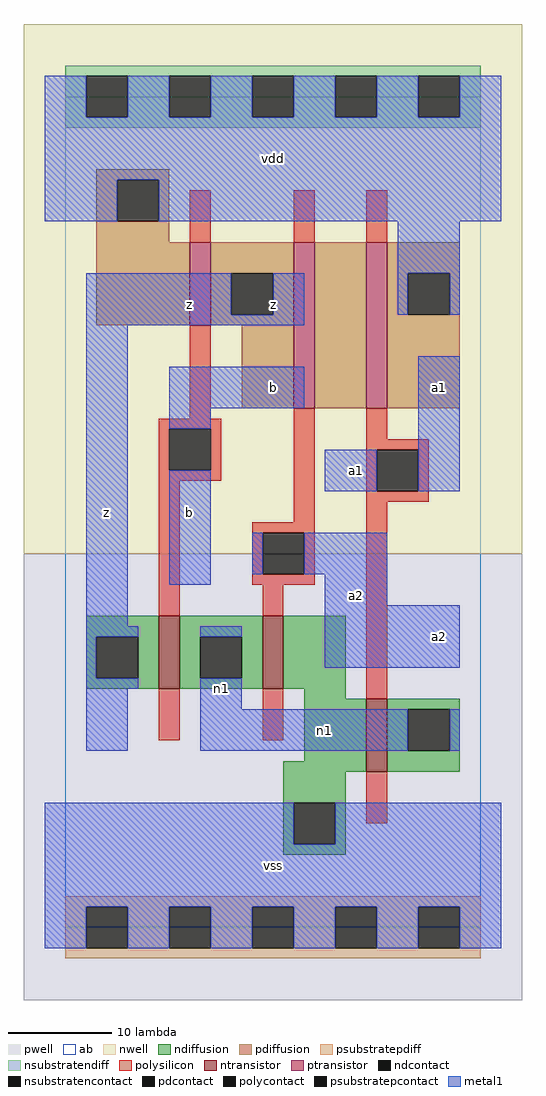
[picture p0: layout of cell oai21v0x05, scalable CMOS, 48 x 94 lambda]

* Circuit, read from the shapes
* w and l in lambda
.subckt oai21v0x05 a1 a2 b n1 vdd vss z
M1 n1 b z vss nfet w=7 l=2
M2 vss a2 n1 vss nfet w=7 l=2
M3 n1 a1 vss vss nfet w=7 l=2
M4 z b vdd vdd pfet w=8 l=2
M5 n2 a2 z vdd pfet w=16 l=2
M6 vdd a1 n2 vdd pfet w=16 l=2
.ends

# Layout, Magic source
magic
tech scmos
<< ab >>
rect 0 0 40 80
<< pwell >>
rect -4 -7 44 36
<< nwell >>
rect -4 36 44 87
<< polysilicon >>
rect 12 66 14 71
rect 22 66 24 71
rect 29 66 31 71
rect 12 49 14 58
rect 9 48 15 49
rect 9 44 10 48
rect 14 44 15 48
rect 9 43 15 44
rect 9 30 11 43
rect 22 39 24 50
rect 18 38 24 39
rect 18 34 19 38
rect 23 34 24 38
rect 18 33 24 34
rect 29 47 31 50
rect 29 46 35 47
rect 29 42 30 46
rect 34 42 35 46
rect 29 41 35 42
rect 19 30 21 33
rect 9 18 11 23
rect 19 18 21 23
rect 29 22 31 41
rect 29 10 31 15
<< ndiffusion >>
rect 2 28 9 30
rect 2 24 3 28
rect 7 24 9 28
rect 2 23 9 24
rect 11 28 19 30
rect 11 24 13 28
rect 17 24 19 28
rect 11 23 19 24
rect 21 23 27 30
rect 23 22 27 23
rect 23 16 29 22
rect 21 15 29 16
rect 31 21 38 22
rect 31 17 33 21
rect 37 17 38 21
rect 31 15 38 17
rect 21 12 27 15
rect 21 8 22 12
rect 26 8 27 12
rect 21 7 27 8
<< pdiffusion >>
rect 3 72 10 73
rect 3 68 5 72
rect 9 68 10 72
rect 3 66 10 68
rect 3 58 12 66
rect 14 63 22 66
rect 14 59 16 63
rect 20 59 22 63
rect 14 58 22 59
rect 17 50 22 58
rect 24 50 29 66
rect 31 63 38 66
rect 31 59 33 63
rect 37 59 38 63
rect 31 50 38 59
<< metal1 >>
rect -2 78 2 82
rect 6 78 10 82
rect 14 78 18 82
rect 22 78 26 82
rect 30 78 34 82
rect 38 78 42 82
rect -2 72 42 78
rect -2 68 5 72
rect 9 68 42 72
rect 32 63 38 68
rect 2 59 16 63
rect 20 59 23 63
rect 32 59 33 63
rect 37 59 38 63
rect 2 58 23 59
rect 2 29 6 58
rect 10 50 23 54
rect 10 48 14 50
rect 10 33 14 44
rect 25 42 30 46
rect 34 42 38 55
rect 18 34 19 38
rect 23 34 31 38
rect 25 31 31 34
rect 2 28 7 29
rect 2 24 3 28
rect 2 23 7 24
rect 13 28 17 29
rect 25 25 38 31
rect 2 17 6 23
rect 13 21 17 24
rect 13 17 33 21
rect 37 17 38 21
rect -2 8 22 12
rect 26 8 42 12
rect -2 2 42 8
rect -2 -2 2 2
rect 6 -2 10 2
rect 14 -2 18 2
rect 22 -2 26 2
rect 30 -2 34 2
rect 38 -2 42 2
<< ntransistor >>
rect 9 23 11 30
rect 19 23 21 30
rect 29 15 31 22
<< ptransistor >>
rect 12 58 14 66
rect 22 50 24 66
rect 29 50 31 66
<< polycontact >>
rect 10 44 14 48
rect 19 34 23 38
rect 30 42 34 46
<< ndcontact >>
rect 3 24 7 28
rect 13 24 17 28
rect 33 17 37 21
rect 22 8 26 12
<< pdcontact >>
rect 5 68 9 72
rect 16 59 20 63
rect 33 59 37 63
<< psubstratepcontact >>
rect 2 -2 6 2
rect 10 -2 14 2
rect 18 -2 22 2
rect 26 -2 30 2
rect 34 -2 38 2
<< nsubstratencontact >>
rect 2 78 6 82
rect 10 78 14 82
rect 18 78 22 82
rect 26 78 30 82
rect 34 78 38 82
<< psubstratepdiff >>
rect 0 2 40 3
rect 0 -2 2 2
rect 6 -2 10 2
rect 14 -2 18 2
rect 22 -2 26 2
rect 30 -2 34 2
rect 38 -2 40 2
rect 0 -3 40 -2
<< nsubstratendiff >>
rect 0 82 40 83
rect 0 78 2 82
rect 6 78 10 82
rect 14 78 18 82
rect 22 78 26 82
rect 30 78 34 82
rect 38 78 40 82
rect 0 77 40 78
<< labels >>
rlabel metal1 4 40 4 40 6 z
rlabel metal1 15 23 15 23 6 n1
rlabel metal1 12 40 12 40 6 b
rlabel metal1 12 60 12 60 6 z
rlabel metal1 20 6 20 6 6 vss
rlabel metal1 28 32 28 32 6 a2
rlabel metal1 28 44 28 44 6 a1
rlabel metal1 20 52 20 52 6 b
rlabel metal1 20 60 20 60 6 z
rlabel metal1 20 74 20 74 6 vdd
rlabel metal1 25 19 25 19 6 n1
rlabel metal1 36 28 36 28 6 a2
rlabel metal1 36 52 36 52 6 a1
<< end >>
